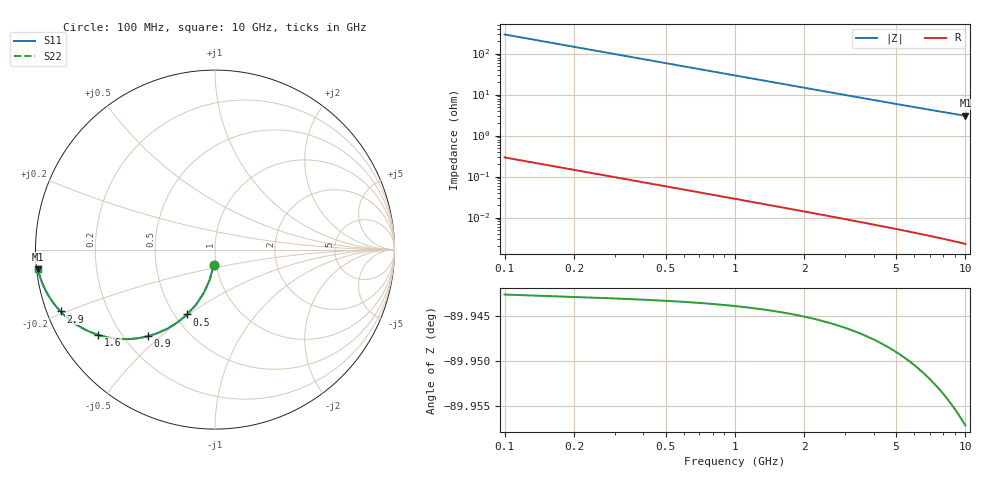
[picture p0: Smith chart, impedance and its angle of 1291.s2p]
# Hz S RI R 50.00
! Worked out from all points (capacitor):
!   100 points, 100 MHz to 10 GHz, reference 50 ohm
!   read as one part in shunt: C = 5.45 pF near 100 MHz
!   lowest |Z| = 3.03 ohm at 10 GHz (marker M1)
!   S11 on the Smith chart (normalised r, x): 100 MHz: 0.97, -0.17; 500 MHz: 0.58, -0.49; 900 MHz: 0.30, -0.46; 1.6 GHz: 0.12, -0.32; 2.9 GHz: 0.04, -0.19; 10 GHz: 0.00, -0.05
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1e8  -0.00734 -0.085  0.9926 -0.0851  0.9926 -0.0851  -0.00734 -0.085
2e8  -0.0287 -0.1663  0.9713 -0.1665  0.9713 -0.1665  -0.0287 -0.1663
3e8  -0.0622 -0.2408  0.9378 -0.2412  0.9378 -0.2412  -0.0622 -0.2408
4e8  -0.1053 -0.3063  0.8946 -0.3067  0.8946 -0.3067  -0.1053 -0.3063
5e8  -0.1553 -0.3614  0.8446 -0.362  0.8446 -0.362  -0.1553 -0.3614
6e8  -0.2092 -0.406  0.7907 -0.4066  0.7907 -0.4066  -0.2092 -0.406
7e8  -0.2647 -0.4403  0.7352 -0.4411  0.7352 -0.4411  -0.2647 -0.4403
9e8  -0.3729 -0.4826  0.627 -0.4836  0.627 -0.4836  -0.3729 -0.4826
1e9  -0.4233 -0.4931  0.5766 -0.4941  0.5766 -0.4941  -0.4233 -0.4931
1.2e9  -0.5138 -0.4987  0.4862 -0.4999  0.4862 -0.4999  -0.5138 -0.4987
1.4e9  -0.5898 -0.4906  0.4102 -0.4921  0.4102 -0.4921  -0.5898 -0.4906
1.6e9  -0.6524 -0.4748  0.3475 -0.4765  0.3475 -0.4765  -0.6524 -0.4748
1.8e9  -0.7037 -0.4551  0.2962 -0.4571  0.2962 -0.4571  -0.7037 -0.4551
2e9  -0.7456 -0.4339  0.2543 -0.4361  0.2543 -0.4361  -0.7456 -0.4339
2.3e9  -0.7949 -0.402  0.2051 -0.4045  0.2051 -0.4045  -0.7949 -0.402
2.9e9  -0.8602 -0.3446  0.1397 -0.3477  0.1397 -0.3477  -0.8602 -0.3446
3.4e9  -0.8943 -0.3051  0.1057 -0.3088  0.1057 -0.3088  -0.8943 -0.3051
4.2e9  -0.928 -0.2556  0.0719 -0.2601  0.0719 -0.2601  -0.928 -0.2556
5.1e9  -0.95 -0.2145  0.0499 -0.22  0.0499 -0.22  -0.95 -0.2145
6.7e9  -0.9704 -0.1651  0.0295 -0.1724  0.0295 -0.1724  -0.9704 -0.1651
8.4e9  -0.981 -0.1311  0.0189 -0.1403  0.0189 -0.1403  -0.981 -0.1311
1e10  -0.9866 -0.1087  0.0133 -0.1198  0.0133 -0.1198  -0.9866 -0.1087
